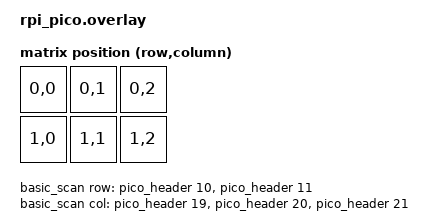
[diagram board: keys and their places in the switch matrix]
/*
 * Copyright (c) 2022 The ZMK Contributors
 *
 * SPDX-License-Identifier: MIT
 */

 #include <behaviors.dtsi>
 #include <dt-bindings/zmk/keys.h>
 #include <dt-bindings/zmk/matrix_transform.h>
 
 
 / {
 
     chosen {
         zmk,kscan = &basic_scan;
         zmk,matrix_transform = &basic_transform;
     };
 
     basic_scan: kscan {
         compatible = "zmk,kscan-gpio-matrix";
         diode-direction = "col2row";
 
         col-gpios
             = <&pico_header 19 GPIO_ACTIVE_HIGH>
             , <&pico_header 20 GPIO_ACTIVE_HIGH>
             , <&pico_header 21 GPIO_ACTIVE_HIGH>
             ;
 
         row-gpios
             = <&pico_header 10 (GPIO_ACTIVE_HIGH | GPIO_PULL_DOWN)>
             , <&pico_header 11 (GPIO_ACTIVE_HIGH | GPIO_PULL_DOWN)>
             ;
     };
 
     basic_transform: matrix_transform{
         compatible = "zmk,matrix_transform";
         rows = <2>;
         columns = <3>;

         map = <
            RC(0,0) RC(0,1) RC(0,2)
            RC(1,0) RC(1,1) RC(1,2)
         >;
     };
 
 };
